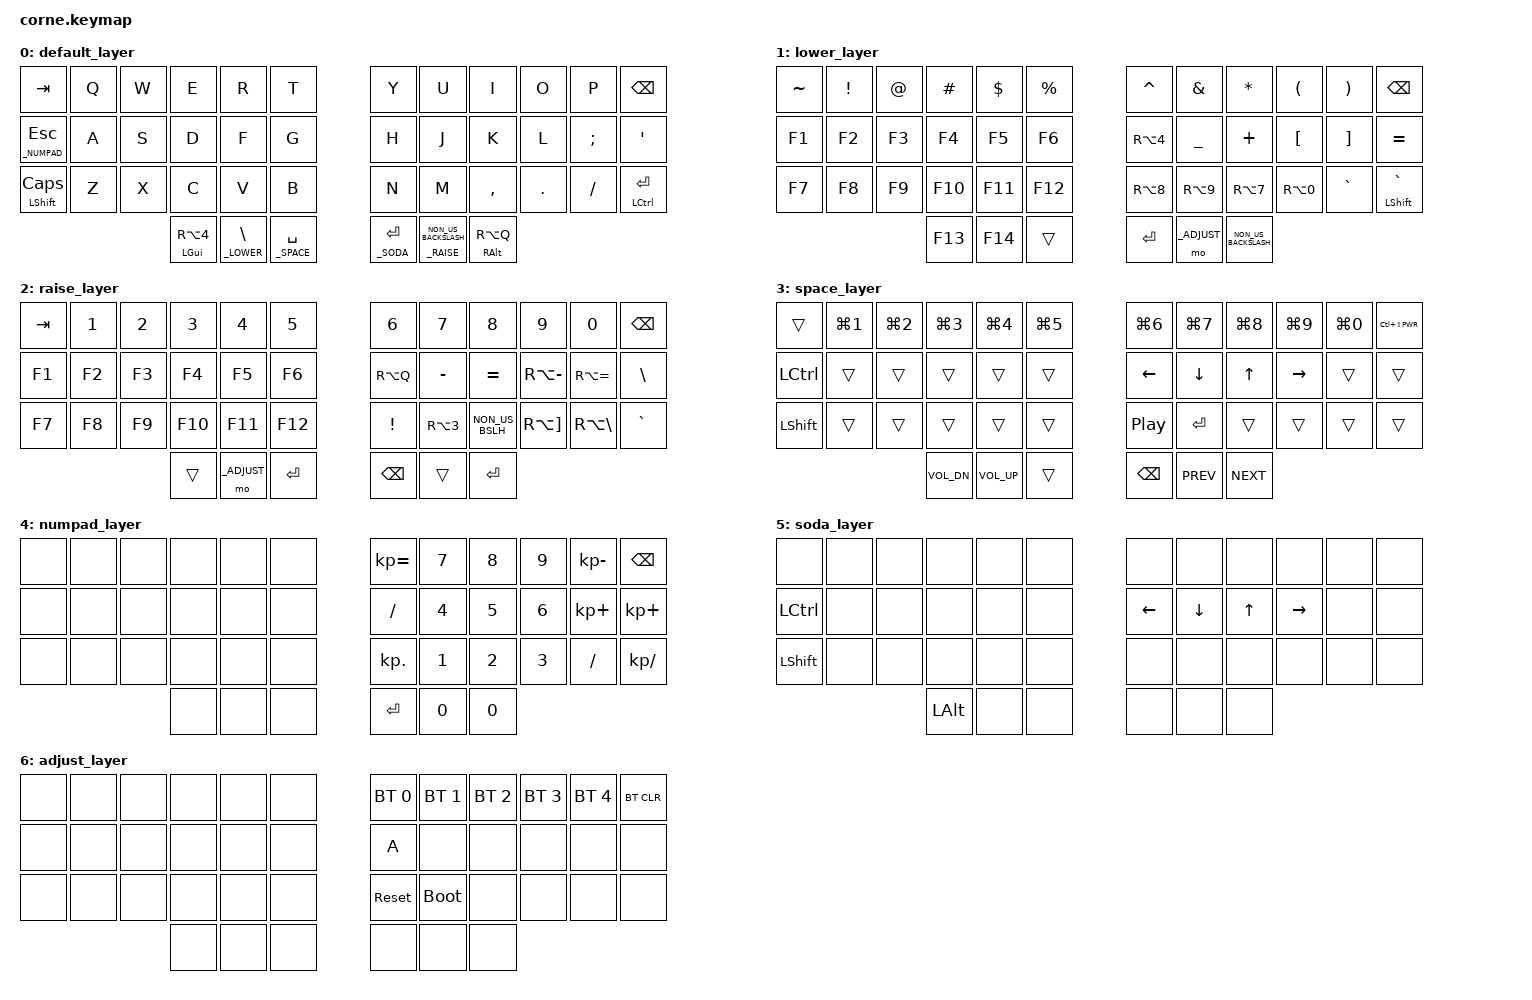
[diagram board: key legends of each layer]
/*
 * Copyright (c) 2020 The ZMK Contributors
 *
 * SPDX-License-Identifier: MIT
 */

#include <behaviors.dtsi>
#include <dt-bindings/zmk/keys.h>
#include <dt-bindings/zmk/bt.h>


// For QMK:
// KC_NONUS_BSLASH (\|) is equivalent to ["é] key in Turkish keyboards.
// KC_GRV (~ `) is equivalent to [<>|] key in Turkish keyboards.
// KC_SCLN is Turkish s [şŞ] key
// KC_QUOT is Turkish i [iİ] key
// KC_COMM is Turkish o [öÖ] key
// KC_DOT is Turkish c [çÇ] key

// For ZMK:
// NON_US_BACKSLASH (\|) is equivalent to ["é] key in Turkish keyboards.
// GRAVE (~ `) is equivalent to [<>|] key in Turkish keyboards.
// SEMI (;) is Turkish s [şŞ] key
// SQT (') is Turkish i [iİ] key
// COMMA (,) is Turkish o [öÖ] key
// DOT (.) is Turkish c [çÇ] key
// FSLH (/) is Turkish dot [.:] key
// BSLH (\) is Turkish comma (,;) key

// Custom shortcuts specific to Turkish layout
#define _CURLY_OPEN RA(N7)
#define _CURLY_CLOSE RA(N0)
#define _AT_SIGN RA(Q)
#define _SQUARE_OPEN RA(N8)
#define _SQUARE_CLOSE RA(N9)
#define _DOLLAR_SIGN RA(N4)
#define _BACKSLASH RA(MINUS)
#define _VERTICAL_PIPE RA(EQUAL)
#define _BACKTICK RA(BACKSLASH)
#define _TILDE RA(RIGHT_BRACKET)
#define _NUMBER_SIGN RA(N3) //hashtag sign
#define _LOCKSCREEN LC(LS(C_PWR)) // Screen Lock shortcut for OSX

// Layers
#define _QWERTY 0
#define _LOWER 1
#define _RAISE 2
#define _SPACE 3
#define _NUMPAD 4
#define _SODA 5
#define _ADJUST 6

/ {
        keymap {
                compatible = "zmk,keymap";

                default_layer {
// ----------------------------------------------------------------------------------
// |  TAB  |  Q  |  W  |  E  |  R  |  T  |   |  Y  |  U   |  I  |  O  |  P  | BKSP  |
// |NPD/ESC|  A  |  S  |  D  |  F  |  G  |   |  H  |  J   |  K  |  L  |  Ş  |   İ   |
// |SFT/CPS|  Z  |  X  |  C  |  V  |  B  |   |  N  |  M   |  Ö  |  Ç  |  .  |CTL/ENT|
//                     |GUI/$|LWR/,| SPC*|   |SdaENT|RSE/"|ALT/@|
                        bindings = <
   &kp TAB   &kp Q &kp W &kp E &kp R &kp T              &kp Y &kp U  &kp I     &kp O   &kp P    &kp BSPC
   &lt _NUMPAD ESC &kp A &kp S &kp D &kp F &kp G        &kp H &kp J  &kp K     &kp L   &kp SEMI &kp SQT
   &mt LSHFT CLCK &kp Z &kp X &kp C &kp V &kp B         &kp N &kp M  &kp COMMA &kp DOT &kp FSLH &mt LCTRL RET
                  &mt LGUI _DOLLAR_SIGN &lt _LOWER BSLH &lt _SPACE SPACE                &lt _SODA RET &lt _RAISE NON_US_BACKSLASH &mt RALT _AT_SIGN
                        >;
                };
                lower_layer {
// -----------------------------------------------------------------------------------
// |  >  |  !  |  '  |  ^  |  +  |  %  |   |  &  |  /  |  (  |  )  |  =  |   BKSP    |
// | F1  | F2  | F3  | F4  | F5  | F6  |   | "$" |  ?  |  _  |  Ğ  |  Ü  |     -     |
// | F7  | F8  | F9  | F10 | F11 | F12 |   | "[" | "]" | "{" | "}" |  <  |    ">"    |
//                   | F13 | F14 |     |   | RET  | ADJ | " |
                        bindings = <
   &kp TILDE  &kp EXCL  &kp AT  &kp HASH  &kp DLLR  &kp PRCNT           &kp CARET  &kp AMPS  &kp ASTERISK  &kp LPAR  &kp RPAR  &kp BSPC
   &kp F1  &kp F2  &kp F3  &kp F4  &kp F5  &kp F6                       &kp _DOLLAR_SIGN  &kp UNDERSCORE &kp PLUS  &kp LEFT_BRACKET  &kp RIGHT_BRACKET  &kp EQUAL
   &kp F7  &kp F8  &kp F9  &kp F10  &kp F11  &kp F12                    &kp _SQUARE_OPEN  &kp _SQUARE_CLOSE  &kp _CURLY_OPEN  &kp _CURLY_CLOSE  &kp GRAVE  &mt LSHFT GRAVE
                        &kp F13 &kp F14 &trans                  &kp RET &mo _ADJUST  &kp NON_US_BACKSLASH /* TODO */
                        >;
                };

                raise_layer {
// ------------------------------------------------------------------------------
// | Tab |  1  |  2  |  3  |  4  |  5  |   |  6  |  7  |  8  |  9  |  0  | Bksp |
// | F1  | F2  | F3  | F4  | F5  | F6  |   |  @  |  *  |  -  | "\" | "|" |  ,   |
// | F7  | F8  | F9  | F10 | F11 | F12 |   |  '  |  #  |  "  | "~" | "`" |  <>| |
//                   |     | ADJ | RET |   | BKSP|     | RET |
                        bindings = <
   &kp TAB  &kp N1  &kp N2  &kp N3  &kp N4  &kp N5              &kp N6  &kp N7  &kp N8  &kp N9  &kp N0  &kp BSPC
   &kp F1  &kp F2  &kp F3  &kp F4  &kp F5  &kp F6               &kp _AT_SIGN &kp MINUS  &kp EQUAL  &kp _BACKSLASH  &kp _VERTICAL_PIPE  &kp BACKSLASH
   &kp F7  &kp F8  &kp F9  &kp F10  &kp F11  &kp F12            &kp EXCL &kp _NUMBER_SIGN  &kp NON_US_BSLH  &kp _TILDE  &kp _BACKTICK  &kp GRAVE
                /* TODO */ &trans  &mo _ADJUST &kp RET          &kp BSPC    &trans  &kp RET /* TODO */
                        >;
                };

                space_layer {
// --------------------------------------------------------------------------------
// |     |CMD+1|CMD+2|CMD+3|CMD+4|CMD+5|   | CMD+6 |CMD+7|CMD+8|CMD+9|CMD+0|LckOSX|
// |CTRL |     |     |     |     |     |   | Left  |Down | Up  |Right|     |      |
// |LSFT |     |     |     |     |     |   |PlayPse| RET |     |     |     |      |
//                   |Vol- | Vol+|     |   | BckSpc|Prev | Next|
                        bindings = <
   &trans  &kp LG(N1)  &kp LG(N2)  &kp LG(N3)  &kp LG(N4)  &kp LG(N5)           &kp LG(N6)  &kp LG(N7)  &kp LG(N8)  &kp LG(N9)  &kp LG(N0)  &kp _LOCKSCREEN
   &kp LCTRL  &trans  &trans &trans &trans &trans                               &kp LEFT  &kp DOWN  &kp UP  &kp RIGHT  &trans  &trans
   &kp LSHFT  &trans  &trans  &trans  &trans  &trans                            &kp C_PLAY_PAUSE  &kp RET  &trans  &trans  &trans  &trans
                        &kp C_VOL_DN  &kp C_VOL_UP &trans               &kp BSPC &kp C_PREV  &kp C_NEXT
                        >;
                };

                // KP_DOT is comma on the Turkish layout ¯\_(ツ)_/¯
                numpad_layer {
// ---------------------------------------------------------------------------
// |    |    |    |    |    |    |      |  =  |Num7 |Num8 |Num9 |  -  |Bcksp |
// |    |    |    |    |    |    |      |  .  |Num4 |Num5 |Num6 |  +  |  +   |
// |    |    |    |    |    |    |      |  ,  |Num1 |Num2 |Num3 |  .  |  /   |
//                |    |    |    |      |Enter|Num0 |Num0 |
                        bindings = <
   &none  &none  &none  &none  &none  &none                     &kp KP_EQUAL  &kp N7  &kp N8  &kp N9  &kp KP_MINUS  &kp BSPC
   &none  &none  &none  &none  &none  &none                     &kp SLASH  &kp N4  &kp N5  &kp N6  &kp KP_PLUS  &kp KP_PLUS
   &none  &none  &none  &none  &none  &none                     &kp KP_DOT &kp N1  &kp N2  &kp N3  &kp SLASH  &kp KP_SLASH
                        &none  &none  &none                     &kp RET    &kp N0  &kp N0 
                        >;
                };

                soda_layer {
// -----------------------------------------------------------------------------------------
// |     |     |     |     |     |     |   |     |     |     |     |     |      |
// |CTRL |     |     |     |     |     |   |Left |Down | Up  |Right|     |      |
// |LSFT |     |     |     |     |     |   |     |     |     |     |     |      |
//                   |LALT |     |     |   |     |     |     |
                        bindings = <
   &none  &none  &none  &none  &none  &none             &none  &none  &none  &none  &none  &none
   &kp LCTRL  &none  &none  &none  &none  &none         &kp LEFT  &kp DOWN  &kp UP  &kp RIGHT  &none  &none
   &kp LSHFT  &none  &none  &none  &none  &none         &none  &none  &none  &none  &none  &none
                        &kp LALT  &none  &none          &none  &none  &none
                        >;
                };

                adjust_layer {
// -----------------------------------------------------------------------------------------
// |     |     |     |     |     |     |        |  BT1  | BT2 | BT3 | BT4 | BT5 | BT CLR |
// |     |     |     |     |     |     |        |   A   |     |     |     |     |        |
// |     |     |     |     |     |     |        | RESET | BLDR|     |     |     |        |
//                   |     |     |     |        |       |     |     |     |
                        bindings = <
   &none  &none  &none  &none  &none  &none             &bt BT_SEL 0 &bt BT_SEL 1 &bt BT_SEL 2 &bt BT_SEL 3 &bt BT_SEL 4 &bt BT_CLR
   &none  &none  &none  &none  &none  &none             &kp A  &none  &none  &none  &none  &none
   &none  &none  &none  &none  &none  &none             &sys_reset &bootloader  &none  &none  &none  &none
                             &none  &none  &none  &none  &none  &none
                        >;
                };

        };
};
